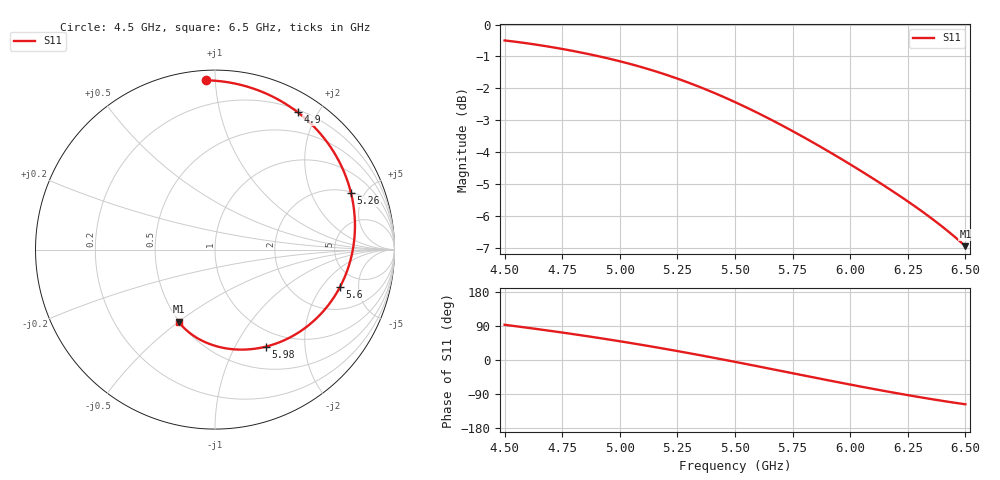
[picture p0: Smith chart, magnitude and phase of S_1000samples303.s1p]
! TOUCHSTONE file generated by CST MICROWAVE STUDIO
! Date and time: Thu Oct 27 17:06:24 2022
! Project name: L.cst
! Parameters = {Di=1.27; Epsilon_r=1.56; InnerDiameter=1.27; Length=2; Lf=10; Lg=60; OuterConductorThickness=0.2921; OuterDiameter=3.6; Wf=3; Wp=41.2; de=1.5; df=6.8; g=0.8; gx=3.17409; gy=4.2737; h=2.34; hf=1.524; px=12.7603; py=8.48114; w=9.7; wx=9.58618; wy=4.20744}
! Header version: 2018
! Port assignment regex: !\s*Touchstone port\s*([0-9]+)\s*=\s*(CST MWS port|CST DS port)\s*([0-9]+|Zmin|Zmax)\s*\(\"(.*)\"\)(\s*mode\s*([0-9]+))?.*
! Touchstone port assignment:
! Touchstone port 1 = CST MWS port 1 ("")
# GHz S DB R 50
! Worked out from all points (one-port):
!   101 points, 4.5 GHz to 6.5 GHz, reference 50 ohm
!   lowest |S11| = -6.9 dB at 6.5 GHz (marker M1), VSWR 2.63, Z = 24.8 - j24.9 ohm
!   |S11| at or under -10 dB: nowhere
!   S11 on the Smith chart (normalised r, x): 4.5 GHz: 0.05, +0.95; 4.9 GHz: 0.23, +1.74; 5.26 GHz: 2.08, +4.00; 5.6 GHz: 3.45, -3.07; 5.98 GHz: 0.78, -1.34; 6.5 GHz: 0.50, -0.50
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4.5  -0.50 92.9
4.58  -0.57 86.6
4.64  -0.63 81.7
4.76  -0.78 71.6
4.84  -0.89 64.5
4.9  -0.98 59.0
5  -1.15 49.5
5.08  -1.30 41.5
5.14  -1.43 35.3
5.2  -1.57 29.0
5.26  -1.72 22.5
5.32  -1.88 15.8
5.38  -2.05 9.0
5.44  -2.24 2.1
5.5  -2.43 -4.9
5.6  -2.77 -16.8
5.68  -3.07 -26.4
5.76  -3.38 -36.1
5.82  -3.62 -43.4
5.88  -3.87 -50.6
5.98  -4.29 -62.4
6  -4.38 -64.8
6.06  -4.65 -71.7
6.12  -4.92 -78.5
6.18  -5.20 -85.2
6.26  -5.59 -93.7
6.38  -6.22 -105.9
6.5  -6.94 -116.8
